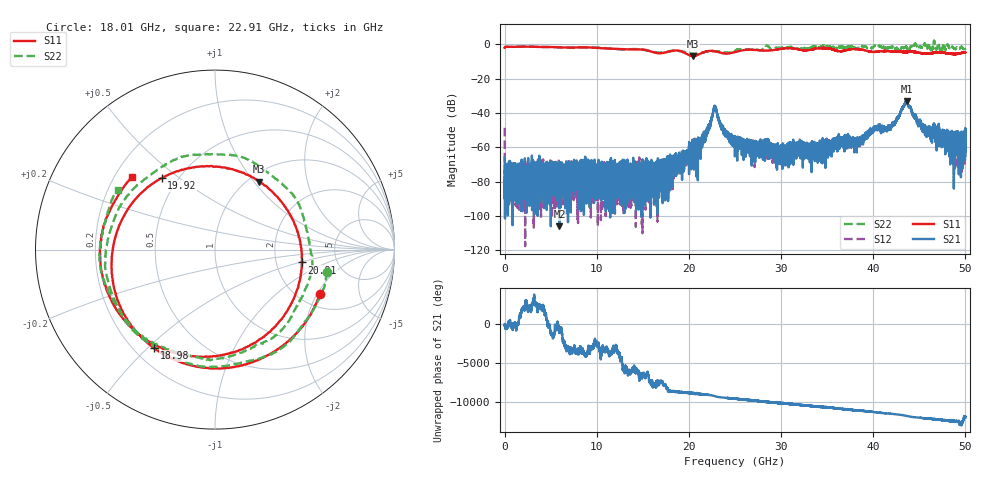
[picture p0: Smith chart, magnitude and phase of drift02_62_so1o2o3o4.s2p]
!Created with skrf (http://scikit-rf.org).
# Hz S RI R 50.0
!freq ReS11 ImS11 ReS21 ImS21 ReS12 ImS12 ReS22 ImS22
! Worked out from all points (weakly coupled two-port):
!   10001 points, 300 kHz to 50 GHz, reference 50 ohm
!   highest |S21| = -32.92 dB at 43.64 GHz (marker M1); lowest = -106.0 dB at 5.955 GHz (marker M2)
!   lowest |S11| = -6.9 dB at 20.42 GHz (marker M3), VSWR 2.64, Z = 56 + j53.1 ohm
!   |S11| at or under -10 dB: nowhere
!   |S22| runs from -5.7 to 2.2 dB; largest |S21 - S12| = 0.0039
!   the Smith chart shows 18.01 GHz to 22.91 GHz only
!   S11 on the Smith chart (normalised r, x): 18.01 GHz: 2.54, -2.11; 18.98 GHz: 0.28, -0.52; 19.92 GHz: 0.41, +0.43; 20.91 GHz: 2.81, -0.53; 22.91 GHz: 0.27, +0.35
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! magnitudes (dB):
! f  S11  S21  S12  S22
! 300 kHz  -2.0  -65.9  -48.6  -2.0
! 260.3 MHz  -1.4  -69.6  -78.0  -1.4
! 5.955 GHz  -1.7  -106.0  -77.7  -1.7
! 8.335 GHz  -1.7  -77.9  -78.7  -1.9
! 16.67 GHz  -5.2  -76.9  -73.4  -4.7
! 18.01 GHz  -4.0  -77.1  -81.1  -4.0
! 18.98 GHz  -3.8  -69.0  -66.4  -3.9
! 19.92 GHz  -6.1  -64.9  -64.7  -5.2
! 20.42 GHz  -6.9  -66.0  -59.7  -5.4
! 20.91 GHz  -6.2  -56.8  -60.4  -5.6
! 22.91 GHz  -4.2  -37.0  -36.9  -3.9
! 23.76 GHz  -5.3  -50.1  -51.3  -4.6
! 25 GHz  -4.5  -57.3  -55.3  -3.9
! 29.7 GHz  -2.9  -66.6  -60.5  -2.1
! 33.34 GHz  -3.0  -59.5  -62.6  -1.6
! 38.19 GHz  -2.7  -59.1  -55.9  -2.3
! 40.34 GHz  -4.3  -48.1  -49.7  -0.9
! 41.67 GHz  -3.9  -48.6  -48.6  -1.9
! 43.64 GHz  -4.4  -32.9  -33.3  -1.7
! 45.68 GHz  -5.4  -49.5  -50.1  -0.6
! 48.53 GHz  -5.7  -50.3  -57.7  -1.6
! 50 GHz  -4.7  -64.9  -57.2  -2.7
